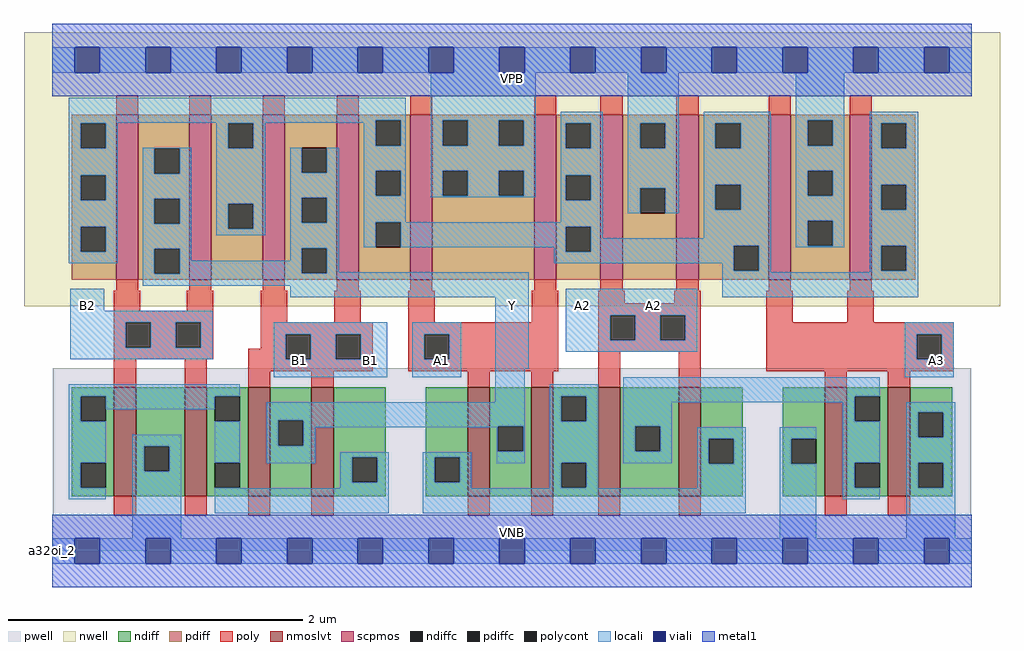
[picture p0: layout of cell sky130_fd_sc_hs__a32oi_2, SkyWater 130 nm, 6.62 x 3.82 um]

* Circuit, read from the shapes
.subckt sky130_fd_sc_hs__a32oi_2 A1 A2 A3 B1 B2 VGND VNB VPB VPWR Y
XM1 VGND B2 n1 VNB sky130_fd_pr__nfet_01v8_lvt w=0.74 l=0.15 m=2
XM2 Y B1 n1 VNB sky130_fd_pr__nfet_01v8_lvt w=0.74 l=0.15 m=2
XM3 Y A1 n2 VNB sky130_fd_pr__nfet_01v8_lvt w=0.74 l=0.15 m=2
XM4 n3 A2 n2 VNB sky130_fd_pr__nfet_01v8_lvt w=0.74 l=0.15 m=2
XM5 n3 A3 VGND VNB sky130_fd_pr__nfet_01v8_lvt w=0.74 l=0.15 m=2
XM6 Y B2 n4 VPB sky130_fd_pr__pfet_01v8 w=1.12 l=0.15 m=2
XM7 Y B1 n4 VPB sky130_fd_pr__pfet_01v8 w=1.12 l=0.15 m=2
XM8 VPWR A1 n4 VPB sky130_fd_pr__pfet_01v8 w=1.12 l=0.15 m=2
XM9 VPWR A2 n4 VPB sky130_fd_pr__pfet_01v8 w=1.12 l=0.15 m=2
XM10 VPWR A3 n4 VPB sky130_fd_pr__pfet_01v8 w=1.12 l=0.15 m=2
.ends

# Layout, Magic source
magic
tech sky130A
magscale 1 2
<< nwell >>
rect -38 332 1286 704
<< pwell >>
rect 1 49 1247 248
rect 0 0 1248 49
<< scpmos >>
rect 87 368 117 592
rect 186 368 216 592
rect 286 368 316 592
rect 386 368 416 592
rect 486 368 516 592
rect 654 368 684 592
rect 744 368 774 592
rect 847 368 877 592
rect 972 368 1002 592
rect 1082 368 1112 592
<< nmoslvt >>
rect 84 74 114 222
rect 180 74 210 222
rect 266 74 296 222
rect 352 74 382 222
rect 564 74 594 222
rect 650 74 680 222
rect 741 74 771 222
rect 850 74 880 222
rect 1048 74 1078 222
rect 1134 74 1164 222
<< ndiff >>
rect 27 210 84 222
rect 27 176 39 210
rect 73 176 84 210
rect 27 120 84 176
rect 27 86 39 120
rect 73 86 84 120
rect 27 74 84 86
rect 114 142 180 222
rect 114 108 125 142
rect 159 108 180 142
rect 114 74 180 108
rect 210 210 266 222
rect 210 176 221 210
rect 255 176 266 210
rect 210 120 266 176
rect 210 86 221 120
rect 255 86 266 120
rect 210 74 266 86
rect 296 177 352 222
rect 296 143 307 177
rect 341 143 352 177
rect 296 74 352 143
rect 382 127 453 222
rect 382 93 407 127
rect 441 93 453 127
rect 382 74 453 93
rect 507 127 564 222
rect 507 93 519 127
rect 553 93 564 127
rect 507 74 564 93
rect 594 169 650 222
rect 594 135 605 169
rect 639 135 650 169
rect 594 74 650 135
rect 680 210 741 222
rect 680 176 691 210
rect 725 176 741 210
rect 680 120 741 176
rect 680 86 691 120
rect 725 86 741 120
rect 680 74 741 86
rect 771 169 850 222
rect 771 135 791 169
rect 825 135 850 169
rect 771 74 850 135
rect 880 152 937 222
rect 880 118 891 152
rect 925 118 937 152
rect 880 74 937 118
rect 991 152 1048 222
rect 991 118 1003 152
rect 1037 118 1048 152
rect 991 74 1048 118
rect 1078 210 1134 222
rect 1078 176 1089 210
rect 1123 176 1134 210
rect 1078 120 1134 176
rect 1078 86 1089 120
rect 1123 86 1134 120
rect 1078 74 1134 86
rect 1164 188 1221 222
rect 1164 154 1175 188
rect 1209 154 1221 188
rect 1164 120 1221 154
rect 1164 86 1175 120
rect 1209 86 1221 120
rect 1164 74 1221 86
<< pdiff >>
rect 27 580 87 592
rect 27 546 39 580
rect 73 546 87 580
rect 27 510 87 546
rect 27 476 39 510
rect 73 476 87 510
rect 27 440 87 476
rect 27 406 39 440
rect 73 406 87 440
rect 27 368 87 406
rect 117 546 186 592
rect 117 512 139 546
rect 173 512 186 546
rect 117 478 186 512
rect 117 444 139 478
rect 173 444 186 478
rect 117 410 186 444
rect 117 376 139 410
rect 173 376 186 410
rect 117 368 186 376
rect 216 580 286 592
rect 216 546 239 580
rect 273 546 286 580
rect 216 471 286 546
rect 216 437 239 471
rect 273 437 286 471
rect 216 368 286 437
rect 316 547 386 592
rect 316 513 339 547
rect 373 513 386 547
rect 316 479 386 513
rect 316 445 339 479
rect 373 445 386 479
rect 316 411 386 445
rect 316 377 339 411
rect 373 377 386 411
rect 316 368 386 377
rect 416 584 486 592
rect 416 550 439 584
rect 473 550 486 584
rect 416 516 486 550
rect 416 482 439 516
rect 473 482 486 516
rect 416 446 486 482
rect 416 412 439 446
rect 473 412 486 446
rect 416 368 486 412
rect 516 584 654 592
rect 516 550 530 584
rect 564 550 606 584
rect 640 550 654 584
rect 516 516 654 550
rect 516 482 530 516
rect 564 482 606 516
rect 640 482 654 516
rect 516 368 654 482
rect 684 580 744 592
rect 684 546 697 580
rect 731 546 744 580
rect 684 510 744 546
rect 684 476 697 510
rect 731 476 744 510
rect 684 440 744 476
rect 684 406 697 440
rect 731 406 744 440
rect 684 368 744 406
rect 774 580 847 592
rect 774 546 798 580
rect 832 546 847 580
rect 774 492 847 546
rect 774 458 798 492
rect 832 458 847 492
rect 774 368 847 458
rect 877 580 972 592
rect 877 546 900 580
rect 934 546 972 580
rect 877 497 972 546
rect 877 463 900 497
rect 934 463 972 497
rect 877 414 972 463
rect 877 380 925 414
rect 959 380 972 414
rect 877 368 972 380
rect 1002 584 1082 592
rect 1002 550 1025 584
rect 1059 550 1082 584
rect 1002 516 1082 550
rect 1002 482 1025 516
rect 1059 482 1082 516
rect 1002 448 1082 482
rect 1002 414 1025 448
rect 1059 414 1082 448
rect 1002 368 1082 414
rect 1112 580 1171 592
rect 1112 546 1125 580
rect 1159 546 1171 580
rect 1112 497 1171 546
rect 1112 463 1125 497
rect 1159 463 1171 497
rect 1112 414 1171 463
rect 1112 380 1125 414
rect 1159 380 1171 414
rect 1112 368 1171 380
<< ndiffc >>
rect 39 176 73 210
rect 39 86 73 120
rect 125 108 159 142
rect 221 176 255 210
rect 221 86 255 120
rect 307 143 341 177
rect 407 93 441 127
rect 519 93 553 127
rect 605 135 639 169
rect 691 176 725 210
rect 691 86 725 120
rect 791 135 825 169
rect 891 118 925 152
rect 1003 118 1037 152
rect 1089 176 1123 210
rect 1089 86 1123 120
rect 1175 154 1209 188
rect 1175 86 1209 120
<< pdiffc >>
rect 39 546 73 580
rect 39 476 73 510
rect 39 406 73 440
rect 139 512 173 546
rect 139 444 173 478
rect 139 376 173 410
rect 239 546 273 580
rect 239 437 273 471
rect 339 513 373 547
rect 339 445 373 479
rect 339 377 373 411
rect 439 550 473 584
rect 439 482 473 516
rect 439 412 473 446
rect 530 550 564 584
rect 606 550 640 584
rect 530 482 564 516
rect 606 482 640 516
rect 697 546 731 580
rect 697 476 731 510
rect 697 406 731 440
rect 798 546 832 580
rect 798 458 832 492
rect 900 546 934 580
rect 900 463 934 497
rect 925 380 959 414
rect 1025 550 1059 584
rect 1025 482 1059 516
rect 1025 414 1059 448
rect 1125 546 1159 580
rect 1125 463 1159 497
rect 1125 380 1159 414
<< poly >>
rect 87 592 117 618
rect 186 592 216 618
rect 286 592 316 618
rect 386 592 416 618
rect 486 592 516 618
rect 654 592 684 618
rect 744 592 774 618
rect 847 592 877 618
rect 972 592 1002 618
rect 1082 592 1112 618
rect 87 353 117 368
rect 186 353 216 368
rect 286 353 316 368
rect 386 353 416 368
rect 486 353 516 368
rect 654 353 684 368
rect 744 353 774 368
rect 847 353 877 368
rect 972 353 1002 368
rect 1082 353 1112 368
rect 84 326 120 353
rect 183 326 219 353
rect 84 310 219 326
rect 84 276 100 310
rect 134 276 168 310
rect 202 276 219 310
rect 84 260 219 276
rect 283 310 319 353
rect 383 310 419 353
rect 483 310 519 353
rect 651 310 687 353
rect 283 294 435 310
rect 283 274 317 294
rect 266 260 317 274
rect 351 260 385 294
rect 419 260 435 294
rect 84 222 114 260
rect 180 222 210 260
rect 266 244 435 260
rect 483 294 687 310
rect 483 260 505 294
rect 539 260 687 294
rect 483 244 687 260
rect 741 336 777 353
rect 844 336 880 353
rect 741 320 880 336
rect 741 286 757 320
rect 791 286 825 320
rect 859 286 880 320
rect 741 270 880 286
rect 266 222 296 244
rect 352 222 382 244
rect 564 222 594 244
rect 650 222 680 244
rect 741 222 771 270
rect 850 222 880 270
rect 969 310 1005 353
rect 1079 310 1115 353
rect 969 294 1223 310
rect 969 260 1173 294
rect 1207 260 1223 294
rect 969 244 1223 260
rect 1048 222 1078 244
rect 1134 222 1164 244
rect 84 48 114 74
rect 180 48 210 74
rect 266 48 296 74
rect 352 48 382 74
rect 564 48 594 74
rect 650 48 680 74
rect 741 48 771 74
rect 850 48 880 74
rect 1048 48 1078 74
rect 1134 48 1164 74
<< polycont >>
rect 100 276 134 310
rect 168 276 202 310
rect 317 260 351 294
rect 385 260 419 294
rect 505 260 539 294
rect 757 286 791 320
rect 825 286 859 320
rect 1173 260 1207 294
<< locali >>
rect 0 649 31 683
rect 65 649 127 683
rect 161 649 223 683
rect 257 649 319 683
rect 353 649 415 683
rect 449 649 511 683
rect 545 649 607 683
rect 641 649 703 683
rect 737 649 799 683
rect 833 649 895 683
rect 929 649 991 683
rect 1025 649 1087 683
rect 1121 649 1183 683
rect 1217 649 1248 683
rect 23 584 480 615
rect 23 581 439 584
rect 23 580 89 581
rect 23 546 39 580
rect 73 546 89 580
rect 223 580 289 581
rect 23 510 89 546
rect 23 476 39 510
rect 73 476 89 510
rect 23 440 89 476
rect 23 406 39 440
rect 73 406 89 440
rect 23 390 89 406
rect 123 546 189 547
rect 123 512 139 546
rect 173 512 189 546
rect 123 478 189 512
rect 123 444 139 478
rect 173 444 189 478
rect 123 410 189 444
rect 223 546 239 580
rect 273 546 289 580
rect 423 550 439 581
rect 473 550 480 584
rect 223 471 289 546
rect 223 437 239 471
rect 273 437 289 471
rect 223 428 289 437
rect 323 513 339 547
rect 373 513 389 547
rect 323 479 389 513
rect 323 445 339 479
rect 373 445 389 479
rect 123 376 139 410
rect 173 394 189 410
rect 323 411 389 445
rect 423 516 480 550
rect 423 482 439 516
rect 473 482 480 516
rect 423 446 480 482
rect 514 584 656 649
rect 514 550 530 584
rect 564 550 606 584
rect 640 550 656 584
rect 514 516 656 550
rect 514 482 530 516
rect 564 482 606 516
rect 640 482 656 516
rect 514 480 656 482
rect 690 580 747 596
rect 690 546 697 580
rect 731 546 747 580
rect 690 510 747 546
rect 690 476 697 510
rect 731 476 747 510
rect 690 446 747 476
rect 781 580 850 649
rect 781 546 798 580
rect 832 546 850 580
rect 781 492 850 546
rect 781 458 798 492
rect 832 458 850 492
rect 884 580 975 596
rect 884 546 900 580
rect 934 546 975 580
rect 884 497 975 546
rect 884 463 900 497
rect 934 463 975 497
rect 423 412 439 446
rect 473 440 747 446
rect 473 412 697 440
rect 323 394 339 411
rect 173 377 339 394
rect 373 378 389 411
rect 681 406 697 412
rect 731 424 747 440
rect 884 424 975 463
rect 731 414 975 424
rect 731 406 925 414
rect 681 390 925 406
rect 909 380 925 390
rect 959 380 975 414
rect 1009 584 1075 649
rect 1009 550 1025 584
rect 1059 550 1075 584
rect 1009 516 1075 550
rect 1009 482 1025 516
rect 1059 482 1075 516
rect 1009 448 1075 482
rect 1009 414 1025 448
rect 1059 414 1075 448
rect 1009 412 1075 414
rect 1109 580 1175 596
rect 1109 546 1125 580
rect 1159 546 1175 580
rect 1109 497 1175 546
rect 1109 463 1125 497
rect 1159 463 1175 497
rect 1109 414 1175 463
rect 909 378 975 380
rect 1109 380 1125 414
rect 1159 380 1175 414
rect 1109 378 1175 380
rect 373 377 647 378
rect 173 376 647 377
rect 123 360 647 376
rect 25 326 71 356
rect 323 344 647 360
rect 25 310 218 326
rect 25 276 100 310
rect 134 276 168 310
rect 202 276 218 310
rect 25 260 218 276
rect 301 294 455 310
rect 301 260 317 294
rect 351 260 385 294
rect 419 260 455 294
rect 301 236 455 260
rect 489 294 555 310
rect 489 260 505 294
rect 539 260 555 294
rect 489 236 555 260
rect 601 247 647 344
rect 697 320 875 356
rect 909 344 1175 378
rect 697 286 757 320
rect 791 286 825 320
rect 859 286 875 320
rect 697 270 875 286
rect 1157 294 1223 310
rect 1157 260 1173 294
rect 1207 260 1223 294
rect 23 210 255 226
rect 23 176 39 210
rect 73 192 221 210
rect 23 120 73 176
rect 601 202 641 247
rect 1157 236 1223 260
rect 23 86 39 120
rect 23 70 73 86
rect 109 142 175 158
rect 109 108 125 142
rect 159 108 175 142
rect 109 17 175 108
rect 221 120 255 176
rect 291 177 641 202
rect 291 143 307 177
rect 341 169 641 177
rect 341 168 605 169
rect 341 143 357 168
rect 291 119 357 143
rect 603 135 605 168
rect 639 135 641 169
rect 391 127 457 134
rect 221 85 255 86
rect 391 93 407 127
rect 441 93 457 127
rect 391 85 457 93
rect 221 51 457 85
rect 503 127 569 134
rect 503 93 519 127
rect 553 93 569 127
rect 603 119 641 135
rect 675 210 741 226
rect 675 176 691 210
rect 725 176 741 210
rect 675 120 741 176
rect 503 85 569 93
rect 675 86 691 120
rect 725 86 741 120
rect 775 210 1123 236
rect 775 202 1089 210
rect 775 169 841 202
rect 775 135 791 169
rect 825 135 841 169
rect 1073 176 1089 202
rect 775 119 841 135
rect 875 152 941 168
rect 675 85 741 86
rect 875 118 891 152
rect 925 118 941 152
rect 875 85 941 118
rect 503 51 941 85
rect 987 152 1037 168
rect 987 118 1003 152
rect 987 17 1037 118
rect 1073 120 1123 176
rect 1073 86 1089 120
rect 1073 70 1123 86
rect 1159 188 1225 202
rect 1159 154 1175 188
rect 1209 154 1225 188
rect 1159 120 1225 154
rect 1159 86 1175 120
rect 1209 86 1225 120
rect 1159 17 1225 86
rect 0 -17 31 17
rect 65 -17 127 17
rect 161 -17 223 17
rect 257 -17 319 17
rect 353 -17 415 17
rect 449 -17 511 17
rect 545 -17 607 17
rect 641 -17 703 17
rect 737 -17 799 17
rect 833 -17 895 17
rect 929 -17 991 17
rect 1025 -17 1087 17
rect 1121 -17 1183 17
rect 1217 -17 1248 17
<< viali >>
rect 31 649 65 683
rect 127 649 161 683
rect 223 649 257 683
rect 319 649 353 683
rect 415 649 449 683
rect 511 649 545 683
rect 607 649 641 683
rect 703 649 737 683
rect 799 649 833 683
rect 895 649 929 683
rect 991 649 1025 683
rect 1087 649 1121 683
rect 1183 649 1217 683
rect 31 -17 65 17
rect 127 -17 161 17
rect 223 -17 257 17
rect 319 -17 353 17
rect 415 -17 449 17
rect 511 -17 545 17
rect 607 -17 641 17
rect 703 -17 737 17
rect 799 -17 833 17
rect 895 -17 929 17
rect 991 -17 1025 17
rect 1087 -17 1121 17
rect 1183 -17 1217 17
<< metal1 >>
rect 0 683 1248 715
rect 0 649 31 683
rect 65 649 127 683
rect 161 649 223 683
rect 257 649 319 683
rect 353 649 415 683
rect 449 649 511 683
rect 545 649 607 683
rect 641 649 703 683
rect 737 649 799 683
rect 833 649 895 683
rect 929 649 991 683
rect 1025 649 1087 683
rect 1121 649 1183 683
rect 1217 649 1248 683
rect 0 617 1248 649
rect 0 17 1248 49
rect 0 -17 31 17
rect 65 -17 127 17
rect 161 -17 223 17
rect 257 -17 319 17
rect 353 -17 415 17
rect 449 -17 511 17
rect 545 -17 607 17
rect 641 -17 703 17
rect 737 -17 799 17
rect 833 -17 895 17
rect 929 -17 991 17
rect 1025 -17 1087 17
rect 1121 -17 1183 17
rect 1217 -17 1248 17
rect 0 -49 1248 -17
<< labels >>
rlabel comment s 0 0 0 0 4 a32oi_2
flabel pwell s 0 0 1248 49 0 FreeSans 200 0 0 0 VNB
port 7 nsew ground bidirectional
flabel nwell s 0 617 1248 666 0 FreeSans 200 0 0 0 VPB
port 8 nsew power bidirectional
flabel metal1 s 0 617 1248 666 0 FreeSans 340 0 0 0 VPWR
port 9 nsew power bidirectional
flabel metal1 s 0 0 1248 49 0 FreeSans 340 0 0 0 VGND
port 6 nsew ground bidirectional
flabel locali s 31 316 65 350 0 FreeSans 340 0 0 0 B2
port 5 nsew signal input
flabel locali s 319 242 353 276 0 FreeSans 340 0 0 0 B1
port 4 nsew signal input
flabel locali s 415 242 449 276 0 FreeSans 340 0 0 0 B1
port 4 nsew signal input
flabel locali s 1183 242 1217 276 0 FreeSans 340 0 0 0 A3
port 3 nsew signal input
flabel locali s 703 316 737 350 0 FreeSans 340 0 0 0 A2
port 2 nsew signal input
flabel locali s 799 316 833 350 0 FreeSans 340 0 0 0 A2
port 2 nsew signal input
flabel locali s 511 242 545 276 0 FreeSans 340 0 0 0 A1
port 1 nsew signal input
flabel locali s 607 316 641 350 0 FreeSans 340 0 0 0 Y
port 10 nsew signal output
<< properties >>
string LEFsite unit
string LEFclass CORE
string FIXED_BBOX 0 0 1248 666
string GDS_FILE $PDKPATH/libs.ref/sky130_fd_sc_hs/gds/sky130_fd_sc_hs.gds
string LEFsymmetry X Y
string GDS_END 85990
string GDS_START 75496
<< end >>
